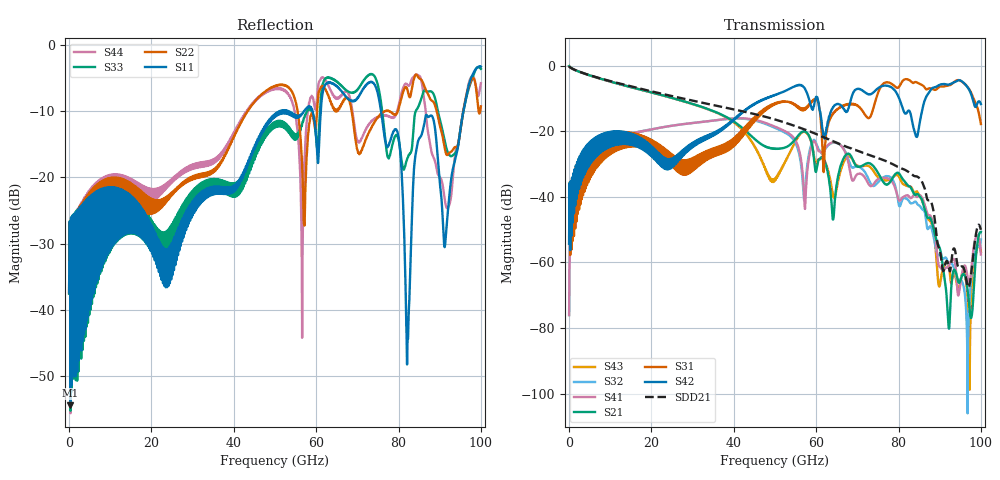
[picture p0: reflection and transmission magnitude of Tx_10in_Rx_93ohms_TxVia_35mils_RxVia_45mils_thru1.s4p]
! Info: Touchstone file created by Circ.  Input file=Tx_10in_Rx_93ohms_TxVia_35mils_RxVia_45mils.circ
# Hz S RI R 50
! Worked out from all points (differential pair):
!   10000 points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, 10 MHz to 100 GHz, reference 50 ohm
!   strongest paths, dB at 10 MHz, 25.01 GHz, 50.01 GHz, 75.01 GHz, 100 GHz:
!     S42: -54.3, -29.6, -8.9, -6.9, -11.7
!     S31: -54.3, -30.1, -11.5, -8.3, -17.8
!     S21: -0.1, -9.8, -25.2, -32.6, -50.7
!     S41: -76.1, -18.3, -18.6, -34.6, -57.6
!     S32: -76.1, -18.3, -19.0, -35.6, -53.0
!     S43: -0.1, -9.8, -34.3, -34.0, -56.8
!   taken as a pair (ports 1,3 in; 2,4 out), SDD21 dB: -0.1, -9.2, -16.4, -28.2, -50.0
!   lowest |S11| = -54.4 dB at 330 MHz (marker M1), VSWR 1.00, Z = 49.9 - j0.177 ohm
!   |S11| at or under -10 dB: start of sweep to 51.21 GHz; 53.21 GHz to 57.01 GHz (3.8 GHz wide, 6.9 % of centre); 75.77 GHz to 95.75 GHz (19.99 GHz wide, 23.3 % of centre)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
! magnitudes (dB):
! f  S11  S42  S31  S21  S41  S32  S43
! 10 MHz  -37.4  -54.3  -54.3  -0.1  -76.1  -76.1  -0.1
! 330 MHz  -54.4  -41.8  -41.9  -0.5  -47.4  -47.4  -0.5
! 41.69 GHz  -20.2  -14.6  -20.7  -18.6  -16.0  -16.1  -19.1
! 73.8 GHz  -5.7  -8.2  -13.3  -30.5  -36.3  -36.7  -31.9
! 82.22 GHz  -44.2  -13.9  -4.2  -36.4  -39.5  -40.8  -36.7
! 92.16 GHz  -23.9  -5.7  -6.0  -79.7  -61.2  -60.5  -60.8
! 100 GHz  -3.2  -11.7  -17.8  -50.7  -57.6  -53.0  -56.8
